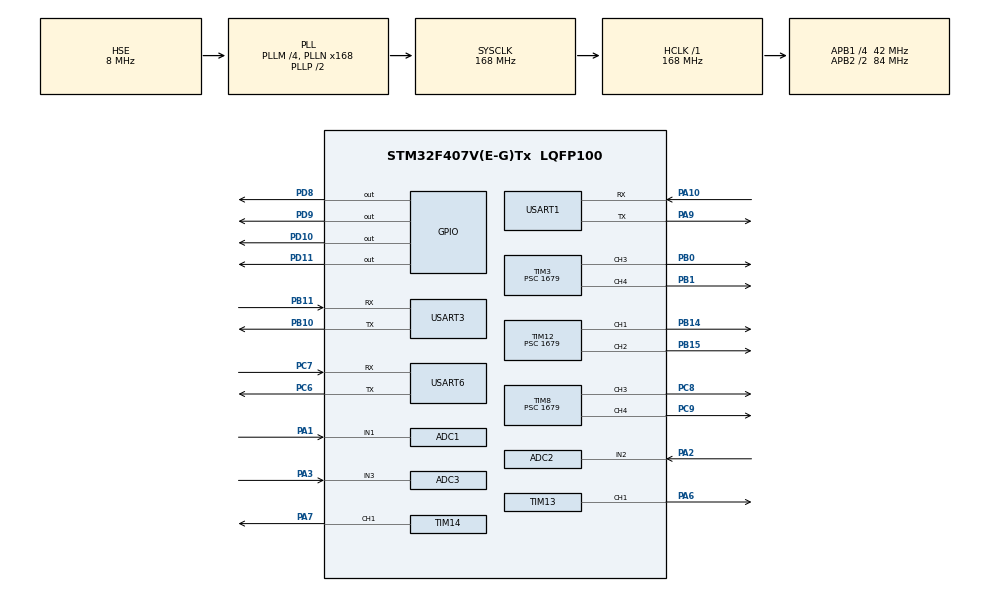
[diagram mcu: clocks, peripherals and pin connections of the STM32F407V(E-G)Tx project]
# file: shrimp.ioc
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ADC1.Channel-0\#ChannelRegularConversion=ADC_CHANNEL_1
ADC1.NbrOfConversionFlag=1
ADC1.Rank-0\#ChannelRegularConversion=1
ADC1.SamplingTime-0\#ChannelRegularConversion=ADC_SAMPLETIME_3CYCLES
ADC1.master=1
ADC2.Channel-0\#ChannelRegularConversion=ADC_CHANNEL_2
ADC2.NbrOfConversionFlag=1
ADC2.Rank-0\#ChannelRegularConversion=1
ADC2.SamplingTime-0\#ChannelRegularConversion=ADC_SAMPLETIME_3CYCLES
ADC3.Channel-0\#ChannelRegularConversion=ADC_CHANNEL_3
ADC3.NbrOfConversionFlag=1
ADC3.Rank-0\#ChannelRegularConversion=1
ADC3.SamplingTime-0\#ChannelRegularConversion=ADC_SAMPLETIME_3CYCLES
Mcu.Family=STM32F4
Mcu.Name=STM32F407V(E-G)Tx
Mcu.Package=LQFP100
NVIC.ADC_IRQn=true\:0\:0\:false\:false\:true\:true\:true\:true
NVIC.PriorityGroup=NVIC_PRIORITYGROUP_4
NVIC.TIM1_UP_TIM10_IRQn=true\:0\:0\:false\:false\:true\:true\:true\:true
NVIC.TIM3_IRQn=true\:0\:0\:false\:false\:true\:true\:true\:true
NVIC.TIM6_DAC_IRQn=true\:0\:0\:false\:false\:true\:true\:true\:true
NVIC.TIM8_BRK_TIM12_IRQn=true\:0\:0\:false\:false\:true\:true\:true\:true
NVIC.TIM8_TRG_COM_TIM14_IRQn=true\:0\:0\:false\:false\:true\:true\:true\:true
NVIC.TIM8_UP_TIM13_IRQn=true\:0\:0\:false\:false\:true\:true\:true\:true
NVIC.USART1_IRQn=true\:0\:0\:false\:false\:true\:true\:true\:true
NVIC.USART3_IRQn=true\:0\:0\:false\:false\:true\:true\:true\:true
NVIC.USART6_IRQn=true\:0\:0\:false\:false\:true\:true\:true\:true
PA1.Signal=ADCx_IN1
PA10.Mode=Asynchronous
PA10.Signal=USART1_RX
PA2.Signal=ADCx_IN2
PA3.Signal=ADCx_IN3
PA6.Signal=S_TIM13_CH1
PA7.Signal=S_TIM14_CH1
PA9.Mode=Asynchronous
PA9.Signal=USART1_TX
PB0.Signal=S_TIM3_CH3
PB1.Signal=S_TIM3_CH4
PB10.Mode=Asynchronous
PB10.Signal=USART3_TX
PB11.Mode=Asynchronous
PB11.Signal=USART3_RX
PB14.Signal=S_TIM12_CH1
PB15.Signal=S_TIM12_CH2
PC6.Mode=Asynchronous
PC6.Signal=USART6_TX
PC7.Mode=Asynchronous
PC7.Signal=USART6_RX
PC8.Signal=S_TIM8_CH3
PC9.Signal=S_TIM8_CH4
PD10.Signal=GPIO_Output
PD11.Signal=GPIO_Output
PD8.Signal=GPIO_Output
PD9.Signal=GPIO_Output
PH0-OSC_IN.Mode=HSE-External-Oscillator
PH0-OSC_IN.Signal=RCC_OSC_IN
PH1-OSC_OUT.Mode=HSE-External-Oscillator
PH1-OSC_OUT.Signal=RCC_OSC_OUT
ProjectManager.HeapSize=0x200
ProjectManager.StackSize=0x400
ProjectManager.TargetToolchain=MDK-ARM V5.32
RCC.48MHZClocksFreq_Value=84000000
RCC.AHBFreq_Value=168000000
RCC.APB1CLKDivider=RCC_HCLK_DIV4
RCC.APB1Freq_Value=42000000
RCC.APB1TimFreq_Value=84000000
RCC.APB2CLKDivider=RCC_HCLK_DIV2
RCC.APB2Freq_Value=84000000
RCC.APB2TimFreq_Value=168000000
RCC.CortexFreq_Value=168000000
RCC.HCLKFreq_Value=168000000
RCC.HSE_VALUE=8000000
RCC.HSI_VALUE=16000000
RCC.LSE_VALUE=32768
RCC.PLLM=4
RCC.PLLN=168
RCC.PLLSourceVirtual=RCC_PLLSOURCE_HSE
RCC.SYSCLKFreq_VALUE=168000000
RCC.SYSCLKSource=RCC_SYSCLKSOURCE_PLLCLK
RCC.VCOOutputFreq_Value=336000000
SH.ADCx_IN1.0=ADC1_IN1,IN1
SH.ADCx_IN2.0=ADC2_IN2,IN2
SH.ADCx_IN3.0=ADC3_IN3,IN3
SH.S_TIM12_CH1.0=TIM12_CH1,PWM Generation1 CH1
SH.S_TIM12_CH2.0=TIM12_CH2,PWM Generation2 CH2
SH.S_TIM13_CH1.0=TIM13_CH1,PWM Generation1 CH1
SH.S_TIM14_CH1.0=TIM14_CH1,PWM Generation1 CH1
SH.S_TIM3_CH3.0=TIM3_CH3,PWM Generation3 CH3
SH.S_TIM3_CH4.0=TIM3_CH4,PWM Generation4 CH4
SH.S_TIM8_CH3.0=TIM8_CH3,PWM Generation3 CH3
SH.S_TIM8_CH4.0=TIM8_CH4,PWM Generation4 CH4
TIM10.Period=9999
TIM10.Prescaler=\ 8399
TIM12.Channel-PWM\ Generation1\ CH1=TIM_CHANNEL_1
TIM12.Channel-PWM\ Generation2\ CH2=TIM_CHANNEL_2
TIM12.Period=100
TIM12.Prescaler=1679
TIM12.Pulse-PWM\ Generation1\ CH1=0
TIM13.Channel=TIM_CHANNEL_1
TIM13.Period=99
TIM13.Prescaler=1679
TIM13.Pulse=0
TIM14.Channel=TIM_CHANNEL_1
TIM14.Period=100
TIM14.Prescaler=1679
TIM3.Channel-PWM\ Generation3\ CH3=TIM_CHANNEL_3
TIM3.Channel-PWM\ Generation4\ CH4=TIM_CHANNEL_4
TIM3.Period=100
TIM3.Prescaler=1679
TIM3.Pulse-PWM\ Generation3\ CH3=0
TIM6.Prescaler=83
TIM8.Channel-PWM\ Generation3\ CH3=TIM_CHANNEL_3
TIM8.Channel-PWM\ Generation4\ CH4=TIM_CHANNEL_4
TIM8.Period=99
TIM8.Prescaler=1679
TIM8.Pulse-PWM\ Generation3\ CH3=0
USART1.VirtualMode=VM_ASYNC
USART3.VirtualMode=VM_ASYNC
USART6.VirtualMode=VM_ASYNC
VP_TIM10_VS_ClockSourceINT.Mode=Enable_Timer
VP_TIM12_VS_ClockSourceINT.Mode=Internal
VP_TIM13_VS_ClockSourceINT.Mode=Enable_Timer
VP_TIM14_VS_ClockSourceINT.Mode=Enable_Timer
VP_TIM3_VS_ClockSourceINT.Mode=Internal
VP_TIM6_VS_ClockSourceINT.Mode=Enable_Timer
VP_TIM8_VS_ClockSourceINT.Mode=Internal
board=custom

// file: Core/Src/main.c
/* USER CODE BEGIN Header */
/**
  ******************************************************************************
  * @file           : main.c
  * @brief          : Main program body
  ******************************************************************************
  * @attention
  *
  * Copyright (c) 2024 STMicroelectronics.
  * All rights reserved.
  *
  * This software is licensed under terms that can be found in the LICENSE file
  * in the root directory of this software component.
  * If no LICENSE file comes with this software, it is provided AS-IS.
  *
  ******************************************************************************
  */
/* USER CODE END Header */
#include "main.h"
#include "adc.h"
#include "tim.h"
#include "usart.h"
#include "gpio.h"

/* USER CODE BEGIN Includes */
#include "motor.h"
#include "relay.h"
#include "stdio.h"
#include "stdlib.h"
#include "ds18b20.h"
#include "motor.h"
#include "FreeRTOS.h"
#include "task.h"
#include "queue.h"
#include "4gdtu.h"
#include "iwdg.h"
#include "sensor.h"
/* USER CODE END Includes */

/* USER CODE BEGIN PTD */
char Tx[20];
/* USER CODE END PTD */

void SystemClock_Config(void);
/* USER CODE BEGIN PFP */
TaskHandle_t TaskDS18B20_Handle;
TaskHandle_t TaskTur_Handle;
TaskHandle_t TaskpH_Handle;
TaskHandle_t TaskTDS_Handle;
TaskHandle_t Task4GHandle;
TaskHandle_t TaskDoHandle;
extern QueueHandle_t uartQueue;
extern char receivedString[BUFFER_SIZE];

/* USER CODE END PFP */

/* USER CODE BEGIN 0 */

void vApplicationIdleHook(void)
{

}

void vApplicationTickHook(void)
{

}

void vApplicationStackOverflowHook(TaskHandle_t xTask,char *pcTaskName)
{

}

void vApplicationMallocFailedHook (void)
{

}

/* USER CODE END 0 */

  int main(void)
{
  HAL_Init();
  SystemClock_Config();
  MX_GPIO_Init();
  MX_TIM3_Init();
  MX_TIM8_Init();
  MX_TIM12_Init();
  MX_TIM13_Init();
  MX_TIM14_Init();
  MX_USART1_UART_Init();
  MX_USART3_UART_Init();
  MX_USART6_UART_Init();
  MX_ADC1_Init();
  MX_ADC2_Init();
  MX_ADC3_Init();
  MX_TIM10_Init();
  MX_TIM6_Init();
	/* USER Init      */
	Pwm_Init();
	HAL_UART_INTERRUPT();
  HAL_TIM_Base_Init(&htim10);
	HAL_TIM_Base_Start_IT(&htim10);

	uartQueue=xQueueCreate(5, sizeof(receivedString));

	if(uartQueue==NULL)
	{
		sprintf(Tx,"Queue creat failed\n");
		HAL_UART_Transmit
		(&huart1,(uint8_t *)Tx,strlen(Tx),HAL_MAX_DELAY);
	}

	xTaskCreate(vTaskDS18B20Print,
						  "DS18B20",
							200,
							NULL,
							3,
							&TaskDS18B20_Handle
							);

	xTaskCreate(vTaskTur,
						  "TUR",
							200,
							NULL,
							3,
							&TaskTur_Handle
							);

	xTaskCreate(vTaskpH,
						  "pH",
							200,
							NULL,
							3,
							&TaskpH_Handle
							);

		xTaskCreate(vTaskTDS,
						  "TDS",
							200,
							NULL,
							3,
							&TaskTDS_Handle
							);

//	xTaskCreate(vReceiveTask,
//						  "4G_RECEIVE",
//							1024,
//							NULL,
//							4,
//							&Task4GHandle
//	           );

//xTaskCreate(vReceiveQueueTask,
//						"4G_DO",
//						512,
//						NULL,
//						4,
//						&TaskDoHandle
//					 );

	vTaskStartScheduler();
}

void SystemClock_Config(void)
{
  RCC_OscInitTypeDef RCC_OscInitStruct = {0};
  RCC_ClkInitTypeDef RCC_ClkInitStruct = {0};

  /** Configure the main internal regulator output voltage
  */
  __HAL_RCC_PWR_CLK_ENABLE();
  __HAL_PWR_VOLTAGESCALING_CONFIG(PWR_REGULATOR_VOLTAGE_SCALE1);

  /** Initializes the RCC Oscillators according to the specified parameters
  * in the RCC_OscInitTypeDef structure.
  */
  RCC_OscInitStruct.OscillatorType = RCC_OSCILLATORTYPE_HSE;
  RCC_OscInitStruct.HSEState = RCC_HSE_ON;
  RCC_OscInitStruct.PLL.PLLState = RCC_PLL_ON;
  RCC_OscInitStruct.PLL.PLLSource = RCC_PLLSOURCE_HSE;
  RCC_OscInitStruct.PLL.PLLM = 4;
  RCC_OscInitStruct.PLL.PLLN = 168;
  RCC_OscInitStruct.PLL.PLLP = RCC_PLLP_DIV2;
  RCC_OscInitStruct.PLL.PLLQ = 4;
  if (HAL_RCC_OscConfig(&RCC_OscInitStruct) != HAL_OK)
  {
    Error_Handler();
  }

  /** Initializes the CPU, AHB and APB buses clocks
  */
  RCC_ClkInitStruct.ClockType = RCC_CLOCKTYPE_HCLK|RCC_CLOCKTYPE_SYSCLK
                              |RCC_CLOCKTYPE_PCLK1|RCC_CLOCKTYPE_PCLK2;
  RCC_ClkInitStruct.SYSCLKSource = RCC_SYSCLKSOURCE_PLLCLK;
  RCC_ClkInitStruct.AHBCLKDivider = RCC_SYSCLK_DIV1;
  RCC_ClkInitStruct.APB1CLKDivider = RCC_HCLK_DIV4;
  RCC_ClkInitStruct.APB2CLKDivider = RCC_HCLK_DIV2;

  if (HAL_RCC_ClockConfig(&RCC_ClkInitStruct, FLASH_LATENCY_5) != HAL_OK)
  {
    Error_Handler();
  }
}

void Error_Handler(void)
{
  __disable_irq();
  while (1)
  {
  }
}
